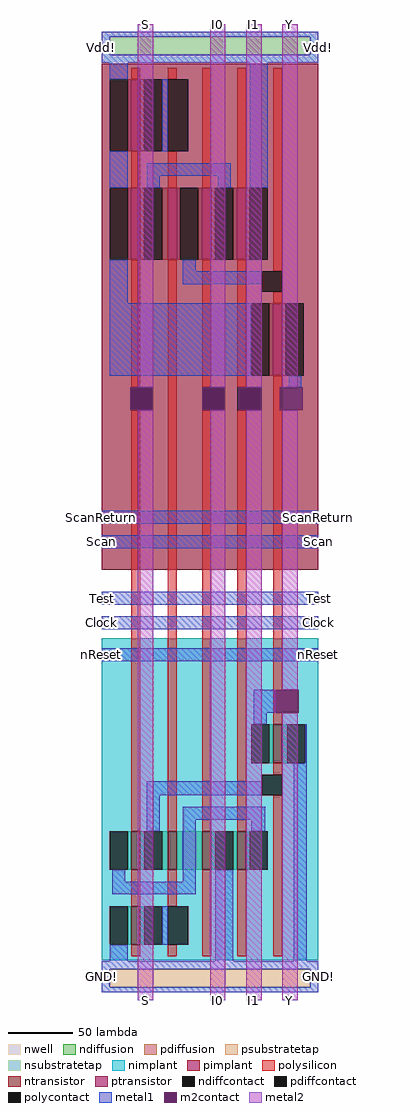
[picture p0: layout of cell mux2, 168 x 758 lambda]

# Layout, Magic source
magic
tech c35b4
<< pimplant >>
rect 0 334 168 727
<< nimplant >>
rect 0 31 168 281
<< nwell >>
rect 0 334 168 752
<< polysilicon >>
rect 23 715 30 724
rect 51 715 58 724
rect 23 631 30 659
rect 51 631 58 659
rect 78 631 85 724
rect 105 631 112 724
rect 23 476 30 575
rect 23 131 30 458
rect 51 131 58 575
rect 78 476 85 575
rect 105 476 112 575
rect 133 566 140 724
rect 133 541 140 550
rect 78 131 85 458
rect 105 131 112 458
rect 133 241 140 485
rect 133 223 153 241
rect 133 214 140 223
rect 133 175 140 184
rect 23 73 30 101
rect 51 73 58 101
rect 23 34 30 43
rect 51 34 58 43
rect 78 34 85 101
rect 105 34 112 101
rect 133 34 140 159
<< ndiffusion >>
rect 130 184 133 214
rect 140 184 144 214
rect 20 101 23 131
rect 30 101 33 131
rect 47 101 51 131
rect 58 101 78 131
rect 85 101 88 131
rect 102 101 105 131
rect 112 101 115 131
rect 20 43 23 73
rect 30 43 33 73
<< pdiffusion >>
rect 20 659 23 715
rect 30 659 33 715
rect 20 575 23 631
rect 30 575 33 631
rect 47 575 51 631
rect 58 575 61 631
rect 75 575 78 631
rect 85 575 88 631
rect 102 575 105 631
rect 112 575 115 631
rect 130 485 133 541
rect 140 485 143 541
<< ntransistor >>
rect 133 184 140 214
rect 23 101 30 131
rect 51 101 58 131
rect 78 101 85 131
rect 105 101 112 131
rect 23 43 30 73
<< ptransistor >>
rect 23 659 30 715
rect 23 575 30 631
rect 51 575 58 631
rect 78 575 85 631
rect 105 575 112 631
rect 133 485 140 541
<< polycontact >>
rect 51 659 67 715
rect 22 458 40 476
rect 124 550 140 566
rect 78 458 96 476
rect 105 458 123 476
rect 124 159 140 175
rect 51 43 67 73
<< ndiffcontact >>
rect 116 184 130 214
rect 144 184 158 214
rect 6 101 20 131
rect 33 101 47 131
rect 88 101 102 131
rect 115 101 129 131
rect 6 43 20 73
rect 33 43 47 73
<< pdiffcontact >>
rect 6 659 20 715
rect 33 659 47 715
rect 6 575 20 631
rect 33 575 47 631
rect 61 575 75 631
rect 88 575 102 631
rect 115 575 129 631
rect 116 485 130 541
rect 143 485 157 541
<< psubstratetap >>
rect 6 10 162 24
<< nsubstratetap >>
rect 6 734 162 748
<< metal1 >>
rect 0 748 168 752
rect 0 734 6 748
rect 162 734 168 748
rect 0 728 168 734
rect 6 715 20 728
rect 47 659 51 715
rect 6 631 20 659
rect 35 640 100 650
rect 35 631 45 640
rect 90 631 100 640
rect 115 631 129 728
rect 6 541 20 575
rect 63 566 73 575
rect 63 556 124 566
rect 6 485 116 541
rect 145 476 155 485
rect 0 370 168 380
rect 0 351 168 361
rect 0 307 168 317
rect 0 288 168 298
rect 0 263 168 273
rect 118 223 135 241
rect 118 214 128 223
rect 158 184 159 214
rect 35 159 124 170
rect 35 131 45 159
rect 63 140 127 150
rect 8 92 18 101
rect 63 92 73 140
rect 116 131 127 140
rect 8 82 73 92
rect 47 43 51 73
rect 6 30 20 43
rect 88 30 102 101
rect 149 30 159 184
rect 0 24 168 30
rect 0 10 6 24
rect 162 10 168 24
rect 0 6 168 10
<< m2contact >>
rect 22 458 40 476
rect 78 458 96 476
rect 106 458 123 476
rect 123 458 124 476
rect 138 458 156 476
rect 135 223 153 241
<< metal2 >>
rect 28 476 40 758
rect 84 476 96 758
rect 112 476 124 758
rect 140 476 152 758
rect 28 0 40 458
rect 84 0 96 458
rect 112 0 124 458
rect 140 241 152 458
rect 134 223 135 241
rect 140 0 152 223
<< labels >>
rlabel metal2 28 0 40 0 1 S
rlabel metal2 140 0 152 0 1 Y
rlabel metal1 168 6 168 30 7 GND!
rlabel metal1 0 6 0 30 3 GND!
rlabel metal1 0 728 0 752 3 Vdd!
rlabel metal1 168 728 168 752 7 Vdd!
rlabel metal2 140 758 152 758 5 Y
rlabel metal2 28 758 40 758 5 S
rlabel metal1 168 263 168 273 7 nReset
rlabel metal1 0 263 0 273 3 nReset
rlabel metal1 168 307 168 317 7 Test
rlabel metal1 168 288 168 298 7 Clock
rlabel metal1 0 288 0 298 3 Clock
rlabel metal1 0 307 0 317 3 Test
rlabel metal1 168 370 168 380 7 ScanReturn
rlabel metal1 168 351 168 361 7 Scan
rlabel metal1 0 351 0 361 3 Scan
rlabel metal1 0 370 0 380 3 ScanReturn
rlabel metal2 84 758 96 758 5 I0
rlabel metal2 112 758 124 758 5 I1
rlabel metal2 84 0 96 0 1 I0
rlabel metal2 112 0 124 0 1 I1
<< end >>
